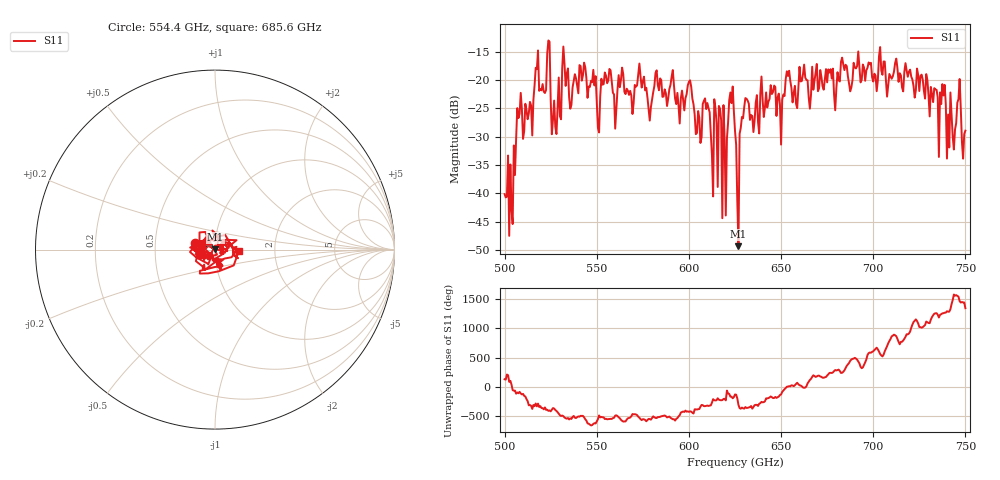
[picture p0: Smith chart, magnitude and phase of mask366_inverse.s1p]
!Created with skrf (http://scikit-rf.org).
# GHz S MA R 50.0
!freq magS11 angS11
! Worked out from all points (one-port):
!   401 points, 500 GHz to 750 GHz, reference 50 ohm
!   lowest |S11| = -49.3 dB at 626.9 GHz (marker M1), VSWR 1.01, Z = 50.2 + j0.249 ohm
!   |S11| at or under -10 dB: start of sweep to end of sweep
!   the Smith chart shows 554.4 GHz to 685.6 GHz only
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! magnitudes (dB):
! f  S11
! 500 GHz  -40.1
! 503.8 GHz  -42.9
! 508.1 GHz  -26.0
! 513.8 GHz  -23.8
! 516.9 GHz  -17.8
! 523.8 GHz  -13.0
! 526.9 GHz  -23.6
! 531.2 GHz  -17.9
! 542.5 GHz  -19.1
! 551.2 GHz  -29.2
! 562.5 GHz  -21.3
! 593.8 GHz  -22.3
! 600.6 GHz  -20.0
! 605.6 GHz  -26.6
! 609.4 GHz  -25.1
! 611.9 GHz  -29.5
! 619.4 GHz  -30.5
! 623.1 GHz  -24.1
! 625 GHz  -28.9
! 626.9 GHz  -49.3
! 631.2 GHz  -23.3
! 656.2 GHz  -23.9
! 687.5 GHz  -22.0
! 718.8 GHz  -19.4
! 737.5 GHz  -20.7
! 743.8 GHz  -32.3
! 746.2 GHz  -23.4
! 750 GHz  -28.9
